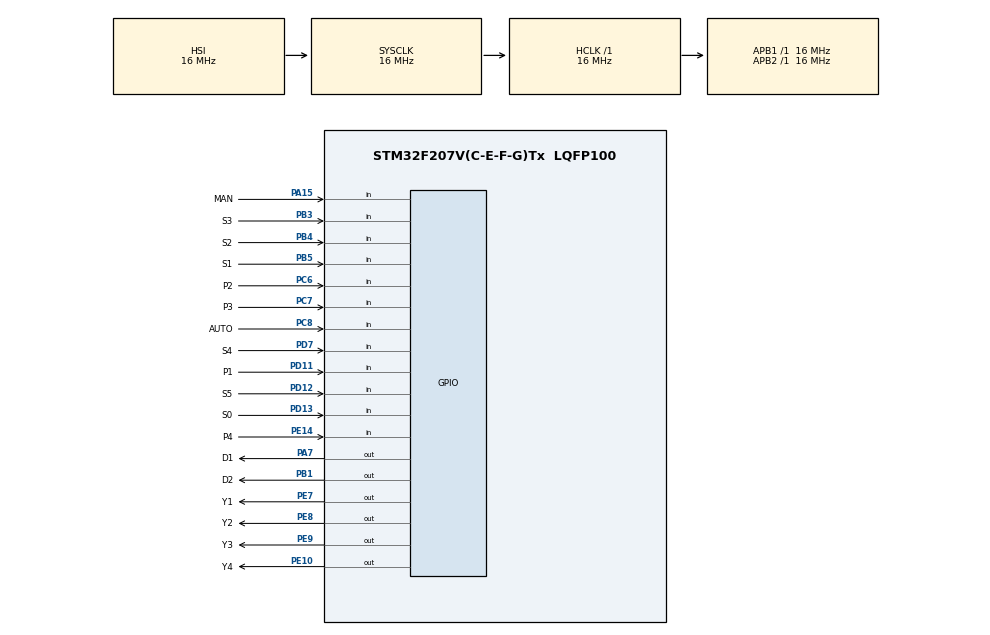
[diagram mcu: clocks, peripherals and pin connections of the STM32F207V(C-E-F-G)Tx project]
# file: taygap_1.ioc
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Mcu.Family=STM32F2
Mcu.Name=STM32F207V(C-E-F-G)Tx
Mcu.Package=LQFP100
NVIC.PriorityGroup=NVIC_PRIORITYGROUP_4
NVIC.TIM2_IRQn=true\:0\:0\:false\:false\:true\:true\:true\:true
PA13.Mode=Serial_Wire
PA13.Signal=SYS_JTMS-SWDIO
PA14.Mode=Serial_Wire
PA14.Signal=SYS_JTCK-SWCLK
PA15.GPIO_Label=MAN
PA15.Signal=GPIO_Input
PA7.GPIO_Label=D1
PA7.Signal=GPIO_Output
PB1.GPIO_Label=D2
PB1.Signal=GPIO_Output
PB3.GPIO_Label=S3
PB3.Signal=GPIO_Input
PB4.GPIO_Label=S2
PB4.Signal=GPIO_Input
PB5.GPIO_Label=S1
PB5.Signal=GPIO_Input
PC6.GPIO_Label=P2
PC6.Signal=GPIO_Input
PC7.GPIO_Label=P3
PC7.Signal=GPIO_Input
PC8.GPIO_Label=AUTO
PC8.Signal=GPIO_Input
PD11.GPIO_Label=P1
PD11.Signal=GPIO_Input
PD12.GPIO_Label=S5
PD12.Signal=GPIO_Input
PD13.GPIO_Label=S0
PD13.Signal=GPIO_Input
PD7.GPIO_Label=S4
PD7.Signal=GPIO_Input
PE10.GPIO_Label=Y4
PE10.Signal=GPIO_Output
PE14.GPIO_Label=P4
PE14.Signal=GPIO_Input
PE7.GPIO_Label=Y1
PE7.Signal=GPIO_Output
PE8.GPIO_Label=Y2
PE8.Signal=GPIO_Output
PE9.GPIO_Label=Y3
PE9.Signal=GPIO_Output
ProjectManager.HeapSize=0x200
ProjectManager.StackSize=0x400
ProjectManager.TargetToolchain=MDK-ARM V5.32
RCC.48MHZClocksFreq_Value=48000000
RCC.AHBFreq_Value=16000000
RCC.APB1Freq_Value=16000000
RCC.APB2Freq_Value=16000000
RCC.CortexFreq_Value=16000000
RCC.HSE_VALUE=25000000
RCC.HSI_VALUE=16000000
RCC.LSE_VALUE=32768
RCC.SYSCLKFreq_VALUE=16000000
RCC.VCOOutputFreq_Value=192000000
TIM2.Period=1999
TIM2.Prescaler=35999
VP_TIM2_VS_ClockSourceINT.Mode=Internal
board=custom

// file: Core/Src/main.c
/* USER CODE BEGIN Header */
/**
  ******************************************************************************
  * @file           : main.c
  * @brief          : Main program body
  ******************************************************************************
  * @attention
  *
  * Copyright (c) 2024 STMicroelectronics.
  * All rights reserved.
  *
  * This software is licensed under terms that can be found in the LICENSE file
  * in the root directory of this software component.
  * If no LICENSE file comes with this software, it is provided AS-IS.
  *
  ******************************************************************************
  */
/* USER CODE END Header */
#include "main.h"

TIM_HandleTypeDef htim2;

/* USER CODE BEGIN PV */
uint8_t P1;
uint8_t P2;
uint8_t P3;
uint8_t P4;
uint8_t MAN;
uint8_t AUTO;
uint8_t S0;
uint8_t S1;
uint8_t S2;
uint8_t S3;
uint8_t S4;
uint8_t S5;
/* USER CODE END PV */

void SystemClock_Config(void);
static void MX_GPIO_Init(void);
static void MX_TIM2_Init(void);

/* USER CODE BEGIN 0 */
void delay_1ms(void)
{
 __HAL_TIM_SetCounter(&htim2, 0);
 while (__HAL_TIM_GetCounter(&htim2)<20);
}
void delay_ms(int time)
{
 int i = 0;
 for(i = 0; i < time; i++)
 {
   delay_1ms();
 }
}
/* USER CODE END 0 */

int main(void)
{

  /* MCU Configuration--------------------------------------------------------*/

  /* Reset of all peripherals, Initializes the Flash interface and the Systick. */
  HAL_Init();

  /* Configure the system clock */
  SystemClock_Config();

  /* Initialize all configured peripherals */
  MX_GPIO_Init();
  MX_TIM2_Init();
  /* USER CODE BEGIN 2 */
// Set timer
		HAL_TIM_Base_Start(&htim2);

// Set K
	HAL_GPIO_WritePin(D1_GPIO_Port,D1_Pin, GPIO_PIN_SET);
	HAL_GPIO_WritePin(D2_GPIO_Port,D2_Pin, GPIO_PIN_SET);
	HAL_GPIO_WritePin(Y1_GPIO_Port,Y1_Pin, GPIO_PIN_SET);
	HAL_GPIO_WritePin(Y2_GPIO_Port,Y2_Pin, GPIO_PIN_SET);
	HAL_GPIO_WritePin(Y3_GPIO_Port,Y3_Pin, GPIO_PIN_SET);
	HAL_GPIO_WritePin(Y4_GPIO_Port,Y4_Pin, GPIO_PIN_SET);
  /* USER CODE END 2 */

  /* Infinite loop */
  while (1)
  {

    /* USER CODE BEGIN 3 */
		//Read sensor
		P1 = HAL_GPIO_ReadPin(P1_GPIO_Port,P1_Pin); //P1 tra ve 2 gia tri 0 or 1, neu =0 nghia la nut da duoc nhan.
		P2 = HAL_GPIO_ReadPin(P2_GPIO_Port,P2_Pin);
		P3 = HAL_GPIO_ReadPin(P3_GPIO_Port,P3_Pin);
		P4 = HAL_GPIO_ReadPin(P4_GPIO_Port,P4_Pin);
		MAN = HAL_GPIO_ReadPin(MAN_GPIO_Port,MAN_Pin);
		AUTO = HAL_GPIO_ReadPin(AUTO_GPIO_Port,AUTO_Pin);
		S0 = HAL_GPIO_ReadPin(S0_GPIO_Port,S0_Pin);
		S1 = HAL_GPIO_ReadPin(S1_GPIO_Port,S1_Pin);
		S2 = HAL_GPIO_ReadPin(S2_GPIO_Port,S2_Pin);
		S3 = HAL_GPIO_ReadPin(S3_GPIO_Port,S3_Pin);
		S4 = HAL_GPIO_ReadPin(S4_GPIO_Port,S4_Pin);
		S5 = HAL_GPIO_ReadPin(S5_GPIO_Port,S5_Pin);

//Hoan thanh 1 chu trinh.
//Home
		if (P1==0&&(AUTO==0))
		{
			HAL_GPIO_WritePin(Y1_GPIO_Port,Y1_Pin, GPIO_PIN_RESET);	//dong tay gap- vi tri ban dau la dong
			HAL_GPIO_WritePin(Y2_GPIO_Port,Y2_Pin, GPIO_PIN_SET);		//tren-duoi(S1-S2)
			HAL_GPIO_WritePin(Y4_GPIO_Port,Y4_Pin, GPIO_PIN_RESET); //trai- phai (S3-S4)- Muon o S3 thi tuong tac Y4, con muon o S4- thi tuong tac Y3
		}
			if (P2==0&&(AUTO==0))
		{
			HAL_GPIO_WritePin(Y1_GPIO_Port,Y1_Pin, GPIO_PIN_SET);
			HAL_GPIO_WritePin(Y2_GPIO_Port,Y2_Pin, GPIO_PIN_SET);
			HAL_GPIO_WritePin(Y4_GPIO_Port,Y4_Pin, GPIO_PIN_RESET);
		}
		if (S0==0&&(AUTO==0))
		{
			HAL_GPIO_WritePin(Y1_GPIO_Port,Y1_Pin, GPIO_PIN_SET);	//ho ra
			delay_ms(5000);
			if (P2==0&&(AUTO==0))
			{
			HAL_GPIO_WritePin(Y1_GPIO_Port,Y1_Pin, GPIO_PIN_SET);
			HAL_GPIO_WritePin(Y2_GPIO_Port,Y2_Pin, GPIO_PIN_SET);
			HAL_GPIO_WritePin(Y4_GPIO_Port,Y4_Pin, GPIO_PIN_RESET);
			}

			HAL_GPIO_WritePin(Y3_GPIO_Port,Y3_Pin, GPIO_PIN_RESET); // toi S4
			HAL_Delay(5000);
			if (P2==0&&(AUTO==0))
			{
			HAL_GPIO_WritePin(Y1_GPIO_Port,Y1_Pin, GPIO_PIN_SET);
			HAL_GPIO_WritePin(Y2_GPIO_Port,Y2_Pin, GPIO_PIN_SET);
			HAL_GPIO_WritePin(Y4_GPIO_Port,Y4_Pin, GPIO_PIN_RESET);
			}
			HAL_GPIO_WritePin(Y2_GPIO_Port,Y2_Pin, GPIO_PIN_RESET);	// xuong duoi
			HAL_Delay(5000);

			if (P2==0&&(AUTO==0))
			{
			HAL_GPIO_WritePin(Y1_GPIO_Port,Y1_Pin, GPIO_PIN_SET);
			HAL_GPIO_WritePin(Y2_GPIO_Port,Y2_Pin, GPIO_PIN_SET);
			HAL_GPIO_WritePin(Y4_GPIO_Port,Y4_Pin, GPIO_PIN_RESET);
			}
			HAL_GPIO_WritePin(Y1_GPIO_Port,Y1_Pin, GPIO_PIN_RESET);	//dong lai
			HAL_Delay(5000);
			if (P2==0&&(AUTO==0))
			{
			HAL_GPIO_WritePin(Y1_GPIO_Port,Y1_Pin, GPIO_PIN_SET);
			HAL_GPIO_WritePin(Y2_GPIO_Port,Y2_Pin, GPIO_PIN_SET);
			HAL_GPIO_WritePin(Y4_GPIO_Port,Y4_Pin, GPIO_PIN_RESET);
			}
			HAL_GPIO_WritePin(Y2_GPIO_Port,Y2_Pin, GPIO_PIN_SET);	// len
			HAL_Delay(5000);
			if (P2==0&&(AUTO==0))
			{
			HAL_GPIO_WritePin(Y1_GPIO_Port,Y1_Pin, GPIO_PIN_SET);
			HAL_GPIO_WritePin(Y2_GPIO_Port,Y2_Pin, GPIO_PIN_SET);
			HAL_GPIO_WritePin(Y4_GPIO_Port,Y4_Pin, GPIO_PIN_RESET);
			}
			HAL_GPIO_WritePin(Y4_GPIO_Port,Y4_Pin, GPIO_PIN_RESET); // toi S3
			HAL_Delay(5000);
			if (P2==0&&(AUTO==0))
			{
			HAL_GPIO_WritePin(Y1_GPIO_Port,Y1_Pin, GPIO_PIN_SET);
			HAL_GPIO_WritePin(Y2_GPIO_Port,Y2_Pin, GPIO_PIN_SET);
			HAL_GPIO_WritePin(Y4_GPIO_Port,Y4_Pin, GPIO_PIN_RESET);
			}
			HAL_GPIO_WritePin(Y2_GPIO_Port,Y2_Pin, GPIO_PIN_SET);	// xuong
			HAL_Delay(5000);
			if (P2==0&&(AUTO==0))
			{
			HAL_GPIO_WritePin(Y1_GPIO_Port,Y1_Pin, GPIO_PIN_SET);
			HAL_GPIO_WritePin(Y2_GPIO_Port,Y2_Pin, GPIO_PIN_SET);
			HAL_GPIO_WritePin(Y4_GPIO_Port,Y4_Pin, GPIO_PIN_RESET);
			}
			HAL_GPIO_WritePin(Y1_GPIO_Port,Y1_Pin, GPIO_PIN_SET);	//ho ra
			HAL_Delay(5000);
			if (P2==0&&(AUTO==0))
			{
			HAL_GPIO_WritePin(Y1_GPIO_Port,Y1_Pin, GPIO_PIN_SET);
			HAL_GPIO_WritePin(Y2_GPIO_Port,Y2_Pin, GPIO_PIN_SET);
			HAL_GPIO_WritePin(Y4_GPIO_Port,Y4_Pin, GPIO_PIN_RESET);
			}
			HAL_GPIO_WritePin(Y2_GPIO_Port,Y2_Pin, GPIO_PIN_SET);	// len
			HAL_Delay(5000);
			if (P2==0&&(AUTO==0))
			{
			HAL_GPIO_WritePin(Y1_GPIO_Port,Y1_Pin, GPIO_PIN_SET);
			HAL_GPIO_WritePin(Y2_GPIO_Port,Y2_Pin, GPIO_PIN_SET);
			HAL_GPIO_WritePin(Y4_GPIO_Port,Y4_Pin, GPIO_PIN_RESET);
			}
			HAL_GPIO_WritePin(Y1_GPIO_Port,Y1_Pin, GPIO_PIN_RESET);	//dong lai
			HAL_Delay(5000);//cau hinh timer de thay the. Viet mot ham timer.
			if (P2==0&&(AUTO==0))
			{
			HAL_GPIO_WritePin(Y1_GPIO_Port,Y1_Pin, GPIO_PIN_SET);
			HAL_GPIO_WritePin(Y2_GPIO_Port,Y2_Pin, GPIO_PIN_SET);
			HAL_GPIO_WritePin(Y4_GPIO_Port,Y4_Pin, GPIO_PIN_RESET);
			}
			//Nhan nut stop de ve vi tri cu.
		}
  }
  /* USER CODE END 3 */
}

void SystemClock_Config(void)
{
  RCC_OscInitTypeDef RCC_OscInitStruct = {0};
  RCC_ClkInitTypeDef RCC_ClkInitStruct = {0};

  /** Initializes the RCC Oscillators according to the specified parameters
  * in the RCC_OscInitTypeDef structure.
  */
  RCC_OscInitStruct.OscillatorType = RCC_OSCILLATORTYPE_HSI;
  RCC_OscInitStruct.HSIState = RCC_HSI_ON;
  RCC_OscInitStruct.HSICalibrationValue = RCC_HSICALIBRATION_DEFAULT;
  RCC_OscInitStruct.PLL.PLLState = RCC_PLL_NONE;
  if (HAL_RCC_OscConfig(&RCC_OscInitStruct) != HAL_OK)
  {
    Error_Handler();
  }

  /** Initializes the CPU, AHB and APB buses clocks
  */
  RCC_ClkInitStruct.ClockType = RCC_CLOCKTYPE_HCLK|RCC_CLOCKTYPE_SYSCLK
                              |RCC_CLOCKTYPE_PCLK1|RCC_CLOCKTYPE_PCLK2;
  RCC_ClkInitStruct.SYSCLKSource = RCC_SYSCLKSOURCE_HSI;
  RCC_ClkInitStruct.AHBCLKDivider = RCC_SYSCLK_DIV1;
  RCC_ClkInitStruct.APB1CLKDivider = RCC_HCLK_DIV1;
  RCC_ClkInitStruct.APB2CLKDivider = RCC_HCLK_DIV1;

  if (HAL_RCC_ClockConfig(&RCC_ClkInitStruct, FLASH_LATENCY_0) != HAL_OK)
  {
    Error_Handler();
  }
}

static void MX_TIM2_Init(void)
{

  TIM_ClockConfigTypeDef sClockSourceConfig = {0};
  TIM_MasterConfigTypeDef sMasterConfig = {0};

  htim2.Instance = TIM2;
  htim2.Init.Prescaler = 35999;
  htim2.Init.CounterMode = TIM_COUNTERMODE_UP;
  htim2.Init.Period = 1999;
  htim2.Init.ClockDivision = TIM_CLOCKDIVISION_DIV1;
  htim2.Init.AutoReloadPreload = TIM_AUTORELOAD_PRELOAD_DISABLE;
  if (HAL_TIM_Base_Init(&htim2) != HAL_OK)
  {
    Error_Handler();
  }
  sClockSourceConfig.ClockSource = TIM_CLOCKSOURCE_INTERNAL;
  if (HAL_TIM_ConfigClockSource(&htim2, &sClockSourceConfig) != HAL_OK)
  {
    Error_Handler();
  }
  sMasterConfig.MasterOutputTrigger = TIM_TRGO_RESET;
  sMasterConfig.MasterSlaveMode = TIM_MASTERSLAVEMODE_DISABLE;
  if (HAL_TIMEx_MasterConfigSynchronization(&htim2, &sMasterConfig) != HAL_OK)
  {
    Error_Handler();
  }

}

static void MX_GPIO_Init(void)
{
  GPIO_InitTypeDef GPIO_InitStruct = {0};

  /* GPIO Ports Clock Enable */
  __HAL_RCC_GPIOA_CLK_ENABLE();
  __HAL_RCC_GPIOB_CLK_ENABLE();
  __HAL_RCC_GPIOE_CLK_ENABLE();
  __HAL_RCC_GPIOD_CLK_ENABLE();
  __HAL_RCC_GPIOC_CLK_ENABLE();

  /*Configure GPIO pin Output Level */
  HAL_GPIO_WritePin(D1_GPIO_Port, D1_Pin, GPIO_PIN_RESET);

  /*Configure GPIO pin Output Level */
  HAL_GPIO_WritePin(D2_GPIO_Port, D2_Pin, GPIO_PIN_RESET);

  /*Configure GPIO pin Output Level */
  HAL_GPIO_WritePin(GPIOE, Y1_Pin|Y2_Pin|Y3_Pin|Y4_Pin, GPIO_PIN_RESET);

  /*Configure GPIO pin : D1_Pin */
  GPIO_InitStruct.Pin = D1_Pin;
  GPIO_InitStruct.Mode = GPIO_MODE_OUTPUT_PP;
  GPIO_InitStruct.Pull = GPIO_NOPULL;
  GPIO_InitStruct.Speed = GPIO_SPEED_FREQ_LOW;
  HAL_GPIO_Init(D1_GPIO_Port, &GPIO_InitStruct);

  /*Configure GPIO pin : D2_Pin */
  GPIO_InitStruct.Pin = D2_Pin;
  GPIO_InitStruct.Mode = GPIO_MODE_OUTPUT_PP;
  GPIO_InitStruct.Pull = GPIO_NOPULL;
  GPIO_InitStruct.Speed = GPIO_SPEED_FREQ_LOW;
  HAL_GPIO_Init(D2_GPIO_Port, &GPIO_InitStruct);

  /*Configure GPIO pins : Y1_Pin Y2_Pin Y3_Pin Y4_Pin */
  GPIO_InitStruct.Pin = Y1_Pin|Y2_Pin|Y3_Pin|Y4_Pin;
  GPIO_InitStruct.Mode = GPIO_MODE_OUTPUT_PP;
  GPIO_InitStruct.Pull = GPIO_NOPULL;
  GPIO_InitStruct.Speed = GPIO_SPEED_FREQ_LOW;
  HAL_GPIO_Init(GPIOE, &GPIO_InitStruct);

  /*Configure GPIO pin : P4_Pin */
  GPIO_InitStruct.Pin = P4_Pin;
  GPIO_InitStruct.Mode = GPIO_MODE_INPUT;
  GPIO_InitStruct.Pull = GPIO_NOPULL;
  HAL_GPIO_Init(P4_GPIO_Port, &GPIO_InitStruct);

  /*Configure GPIO pins : P1_Pin S5_Pin S0_Pin S4_Pin */
  GPIO_InitStruct.Pin = P1_Pin|S5_Pin|S0_Pin|S4_Pin;
  GPIO_InitStruct.Mode = GPIO_MODE_INPUT;
  GPIO_InitStruct.Pull = GPIO_NOPULL;
  HAL_GPIO_Init(GPIOD, &GPIO_InitStruct);

  /*Configure GPIO pins : P2_Pin P3_Pin AUTO_Pin */
  GPIO_InitStruct.Pin = P2_Pin|P3_Pin|AUTO_Pin;
  GPIO_InitStruct.Mode = GPIO_MODE_INPUT;
  GPIO_InitStruct.Pull = GPIO_NOPULL;
  HAL_GPIO_Init(GPIOC, &GPIO_InitStruct);

  /*Configure GPIO pin : MAN_Pin */
  GPIO_InitStruct.Pin = MAN_Pin;
  GPIO_InitStruct.Mode = GPIO_MODE_INPUT;
  GPIO_InitStruct.Pull = GPIO_NOPULL;
  HAL_GPIO_Init(MAN_GPIO_Port, &GPIO_InitStruct);

  /*Configure GPIO pins : S3_Pin S2_Pin S1_Pin */
  GPIO_InitStruct.Pin = S3_Pin|S2_Pin|S1_Pin;
  GPIO_InitStruct.Mode = GPIO_MODE_INPUT;
  GPIO_InitStruct.Pull = GPIO_NOPULL;
  HAL_GPIO_Init(GPIOB, &GPIO_InitStruct);

}

void Error_Handler(void)
{
  __disable_irq();
  while (1)
  {
  }
}
